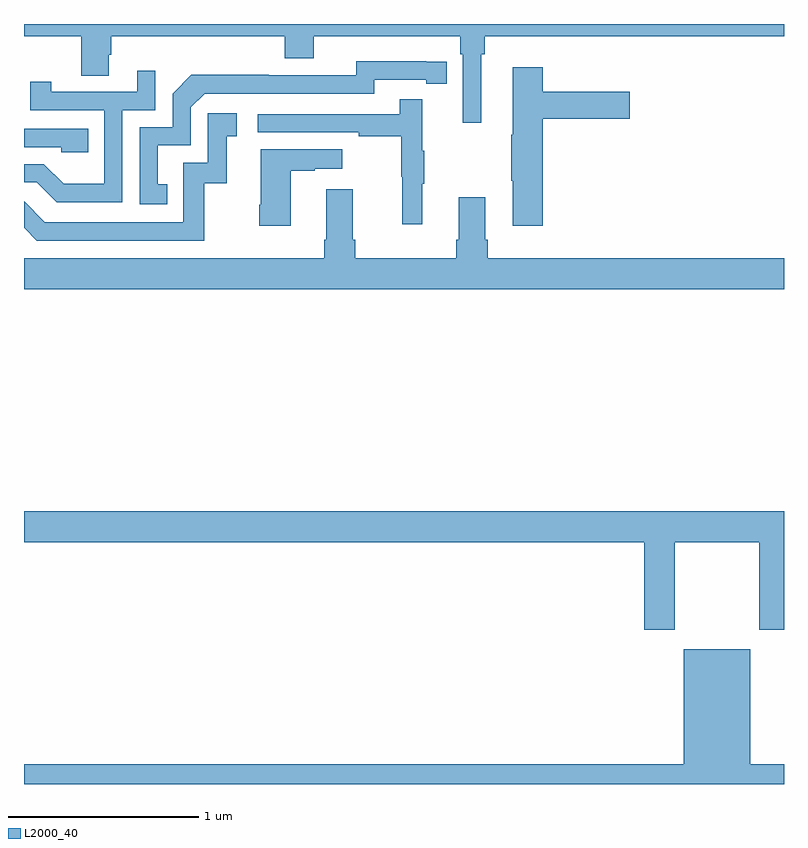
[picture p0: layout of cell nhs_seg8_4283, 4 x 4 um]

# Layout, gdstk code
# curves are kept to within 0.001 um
import gdstk
lib = gdstk.Library(unit=1e-6, precision=1e-09)
def P(c, l, *ps):  # polygons
    for p in ps: c.add(gdstk.Polygon(p, *l))
L2000_40 = (2000, 40)

nhs_seg8_4283 = lib.new_cell('nhs_seg8_4283')
P(nhs_seg8_4283, L2000_40, [(375.406,1113.74),(375.425,1113.74),(375.425,1113.836),(377,1113.836),(377,1113.9),(373,1113.9),(373,1113.836),(373.3,1113.836),(373.3,1113.628),(373.447,1113.628),(373.447,1113.738),(373.46,1113.738),(373.46,1113.836),(374.372,1113.836),(374.372,1113.719),(374.524,1113.719),(374.524,1113.836),(375.296,1113.836),(375.296,1113.74),(375.309,1113.74),(375.309,1113.381),(375.406,1113.381)],
  [(373.754,1113.057),(373.705,1113.057),(373.705,1113.261),(373.878,1113.261),(373.878,1113.462),(373.95,1113.534),(374.844,1113.534),(374.844,1113.606),(375.116,1113.606),(375.116,1113.586),(375.224,1113.586),(375.224,1113.702),(374.748,1113.703),(374.748,1113.63),(374.288,1113.63),(374.288,1113.632),(373.88,1113.632),(373.782,1113.534),(373.782,1113.357),(373.608,1113.357),(373.608,1112.952),(373.754,1112.952)],
  [(375.731,1113.401),(376.189,1113.401),(376.189,1113.543),(375.731,1113.543),(375.731,1113.673),(375.572,1113.673),(375.572,1113.317),(375.565,1113.317),(375.565,1113.076),(375.572,1113.076),(375.572,1112.838),(375.731,1112.838)],
  [(373.518,1113.447),(373.692,1113.447),(373.692,1113.655),(373.595,1113.655),(373.595,1113.543),(373.144,1113.543),(373.144,1113.595),(373.033,1113.595),(373.033,1113.447),(373.422,1113.447),(373.422,1113.058),(373.208,1113.058),(373.104,1113.162),(373,1113.162),(373,1113.066),(373.067,1113.066),(373.172,1112.961),(373.518,1112.961)],
  [(375.095,1113.059),(375.106,1113.059),(375.106,1113.233),(375.095,1113.233),(375.095,1113.505),(374.977,1113.505),(374.977,1113.426),(374.229,1113.426),(374.229,1113.33),(374.761,1113.33),(374.761,1113.31),(374.985,1113.31),(374.985,1113.096),(374.992,1113.096),(374.992,1112.847),(375.095,1112.847)],
  [(373.948,1113.063),(374.066,1113.063),(374.066,1113.309),(374.119,1113.309),(374.119,1113.43),(373.968,1113.43),(373.968,1113.171),(373.839,1113.171),(373.839,1112.856),(373.11,1112.856),(373,1112.966),(373,1112.828),(373.068,1112.76),(373.948,1112.76)],
  [(373.337,1113.348),(373,1113.348),(373,1113.252),(373.197,1113.252),(373.197,1113.225),(373.337,1113.225)],
  [(374.404,1113.127),(374.531,1113.127),(374.531,1113.137),(374.674,1113.137),(374.674,1113.241),(374.246,1113.241),(374.246,1112.95),(374.239,1112.95),(374.239,1112.838),(374.404,1112.838)],
  [(377,1112.668),(375.44,1112.668),(375.44,1112.764),(375.427,1112.764),(375.427,1112.989),(375.287,1112.989),(375.287,1112.764),(375.275,1112.764),(375.275,1112.668),(374.744,1112.668),(374.744,1112.764),(374.731,1112.764),(374.731,1113.031),(374.591,1113.031),(374.591,1112.764),(374.579,1112.764),(374.579,1112.668),(373,1112.668),(373,1112.504),(377,1112.504)],
  [(376.425,1111.172),(376.87,1111.172),(376.87,1110.711),(377,1110.711),(377,1111.336),(373,1111.336),(373,1111.172),(376.265,1111.172),(376.265,1110.711),(376.425,1110.711)],
  [(377,1110.004),(376.822,1110.004),(376.822,1110.61),(376.472,1110.61),(376.472,1110.004),(373,1110.004),(373,1109.9),(377,1109.9)])

lib.write_gds('nhs_seg8_4283.gds')
